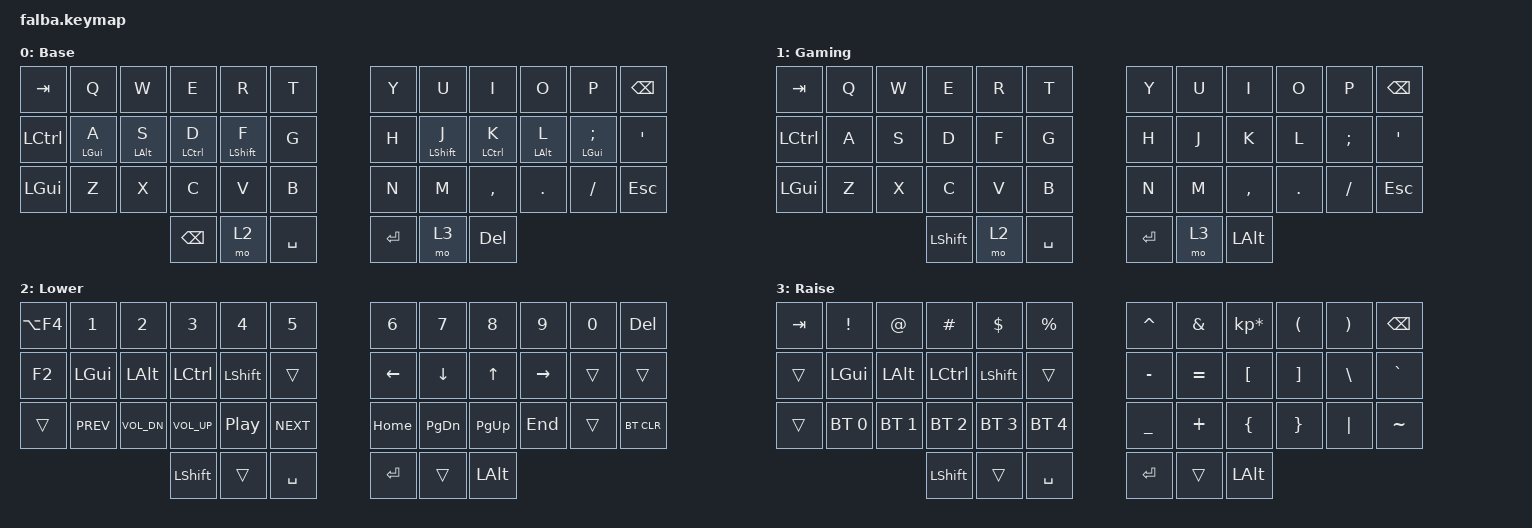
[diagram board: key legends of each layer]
/*
 * Copyright (c) 2020 The ZMK Contributors
 *
 * SPDX-License-Identifier: MIT
 */

#include <behaviors.dtsi>
#include <dt-bindings/zmk/keys.h>
#include <dt-bindings/zmk/bt.h>

/ {
    combos {
        compatible = "zmk,combos";

        toggle_gaming {
            timeout-ms = <50>;
            key-positions = <37 40>;
            bindings = <&tog 1>;
        };
    };

    behaviors {
        hml: homerow_left {
            compatible = "zmk,behavior-hold-tap";
            flavor = "balanced";
            tapping-term-ms = <280>;
            quick-tap-ms = <175>;
            require-prior-idle-ms = <200>;
            bindings = <&kp>, <&kp>;
            #binding-cells = <2>;
            hold-trigger-key-positions = <6 7 8 9 10 11 18 19 20 21 22 23 30 31 32 33 34 35 36 37 38 39 40 41>;
            hold-trigger-on-release;
        };
        hmr: homerow_right {
            compatible = "zmk,behavior-hold-tap";
            flavor = "balanced";
            tapping-term-ms = <280>;
            quick-tap-ms = <175>;
            require-prior-idle-ms = <200>;
            bindings = <&kp>, <&kp>;
            #binding-cells = <2>;
            hold-trigger-key-positions = <0 1 2 3 4 5 12 13 14 15 16 17 24 25 26 27 28 29 36 37 38 39 40 41>;
            hold-trigger-on-release;
        };
    };
};

/ {
        keymap {
                compatible = "zmk,keymap";

                default_layer {
// -----------------------------------------------------------------------------------------
// |  TAB |  Q  |  W  |  E    |  R  |  T  |   |  Y  |  U   |  I  |  O  |  P  | BKSP |
// | CTRL |  A  |  S  |  D    |  F  |  G  |   |  H  |  J   |  K  |  L  |  ;  |  '   |
// | GUI  |  Z  |  X  |  C    |  V  |  B  |   |  N  |  M   |  ,  |  .  |  /  | ESC  |
//                    | SHIFT | LWR | SPC |   | ENT | RSE  | ALT |
                        display-name = "Base";
                        bindings = <
   &kp TAB   &kp Q       &kp W             &kp E         &kp R             &kp T            &kp Y   &kp U          &kp I            &kp O         &kp P          &kp BSPC
   &kp LCTRL &hml LGUI A &hml LALT S       &hml LCTRL  D &hml LSHIFT F     &kp G            &kp H   &hmr LSHIFT J  &hmr LCTRL K     &hmr LALT L   &hmr LGUI SEMI &kp SQT
   &kp LGUI  &kp Z       &kp X             &kp C         &kp V             &kp B            &kp N   &kp M          &kp COMMA        &kp DOT       &kp FSLH       &kp ESC
                                           &kp BSPC      &mo 2             &kp SPACE        &kp RET &mo 3          &kp DEL
                        >;
                };


                gaming_layer {
// -----------------------------------------------------------------------------------------
// |  TAB |  Q  |  W  |  E    |  R  |  T  |   |  Y  |  U   |  I  |  O  |  P  | BKSP |
// | CTRL |  A  |  S  |  D    |  F  |  G  |   |  H  |  J   |  K  |  L  |  ;  |  '   |
// | GUI  |  Z  |  X  |  C    |  V  |  B  |   |  N  |  M   |  ,  |  .  |  /  | ESC  |
//                    | SHIFT | LWR | SPC |   | ENT | RSE  | ALT |
                        display-name = "Gaming";
                        bindings = <
   &kp TAB   &kp Q      &kp W            &kp E        &kp R            &kp T            &kp Y   &kp U         &kp I           &kp O        &kp P         &kp BSPC
   &kp LCTRL &kp A      &kp S            &kp D        &kp F            &kp G            &kp H   &kp J         &kp K           &kp L        &kp SEMI      &kp SQT
   &kp LGUI  &kp Z      &kp X            &kp C        &kp V            &kp B            &kp N   &kp M         &kp COMMA       &kp DOT      &kp FSLH      &kp ESC
                                         &kp LSHIFT   &mo 2            &kp SPACE        &kp RET &mo 3         &kp LALT
                        >;
                };

                lower_layer {
// -----------------------------------------------------------------------------------------
// |  TAB |  1    |  2     |  3    |  4  |  5  |     |  6   |  7  |  8  |  9   |  0  | DEL   |
// | CNTRL|       | VOLDN  | VOLUP | PP  |     |     | LFT  | DWN |  UP | RGT  |     |       |
// | SHFT | BT1   | BT2    | BT3   | BT4 | BT5 |     | PREV |     |     | NEXT |     | BTCLR |
//                | SHIFT  |       | SPC |     | ENT |      | ALT |
                        display-name = "Lower";
                        bindings = <
   &kp LA(F4) &kp N1     &kp N2       &kp N3       &kp N4     &kp N5     &kp N6   &kp N7    &kp N8    &kp N9    &kp N0 &kp DEL
   &kp F2     &kp LGUI   &kp LALT     &kp LCTRL    &kp LSHIFT &trans     &kp LEFT &kp DOWN  &kp UP    &kp RIGHT &trans &trans
   &trans     &kp C_PREV &kp C_VOL_DN &kp C_VOL_UP &kp C_PP   &kp C_NEXT &kp HOME &kp PG_DN &kp PG_UP &kp END   &trans &bt BT_CLR
                      	           &kp LSHIFT   &trans     &kp SPACE  &kp RET  &trans    &kp LALT
                        >;
                };

                raise_layer {
// -----------------------------------------------------------------------------------------
// |  TAB |  !  |  @  |  #    |  $  |  %  |   |  ^  |  &  |  *  |  (  |  )  | BKSP |
// | CTRL |     |     |       |     |     |   |  -  |  =  |  [  |  ]  |  \  |  `   |
// | SHFT |     |     |       |     |     |   |  _  |  +  |  {  |  }  | "|" |  ~   |
//                    | SHIFT |     | SPC |   | ENT |     | ALT |
                        display-name = "Raise";
                        bindings = <
   &kp TAB   &kp EXCL     &kp AT       &kp HASH     &kp DLLR     &kp PRCNT         &kp CARET &kp AMPS  &kp KP_MULTIPLY &kp LPAR &kp RPAR &kp BSPC
   &trans    &kp LGUI     &kp LALT     &kp LCTRL    &kp LSHIFT   &trans            &kp MINUS &kp EQUAL &kp LBKT        &kp RBKT &kp BSLH &kp GRAVE
   &trans    &bt BT_SEL 0 &bt BT_SEL 1 &bt BT_SEL 2 &bt BT_SEL 3 &bt BT_SEL 4      &kp UNDER &kp PLUS  &kp LBRC        &kp RBRC &kp PIPE &kp TILDE
                    	               &kp LSHIFT   &trans       &kp SPACE         &kp RET   &trans    &kp LALT
                        >;
                };
        };
};
